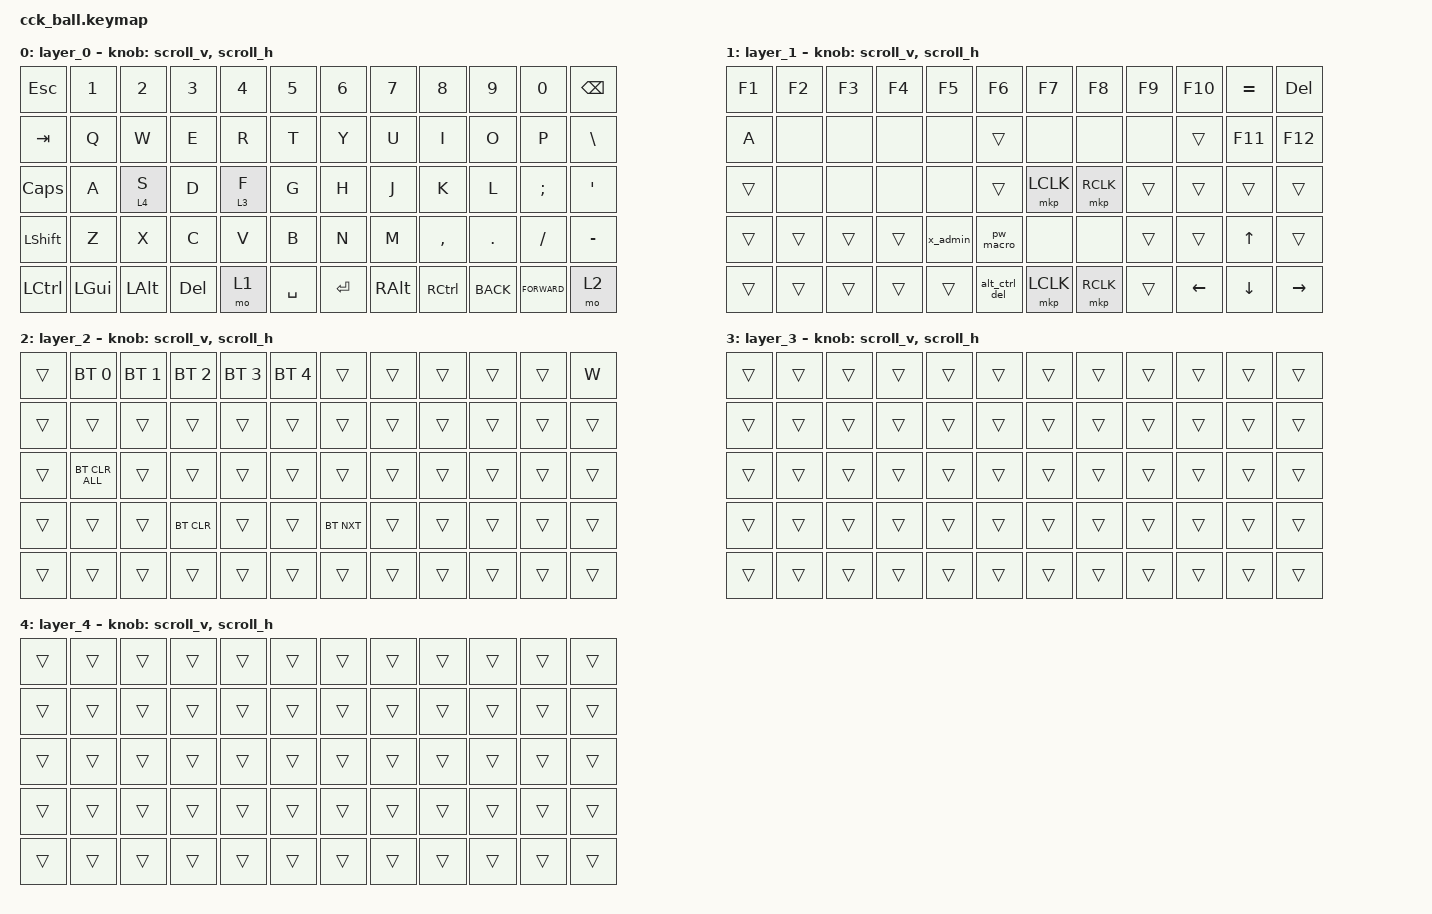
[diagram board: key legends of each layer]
#include <behaviors.dtsi>
#include <dt-bindings/zmk/bt.h>
#include <dt-bindings/zmk/keys.h>
#include <dt-bindings/zmk/pointing.h>

/* 엔코더 하드웨어 노드 활성화 (반드시 필요) */
&left_encoder { status = "okay"; };
&right_encoder { status = "okay"; };

/* 중복 정의 방지 처리 */
#ifndef ZMK_POINTING_DEFAULT_MOVE_VAL
#define ZMK_POINTING_DEFAULT_MOVE_VAL 1000
#endif
#ifndef ZMK_POINTING_DEFAULT_SCRL_VAL
#define ZMK_POINTING_DEFAULT_SCRL_VAL 12
#endif

&msc {
    acceleration-exponent = <0>;
    time-to-max-speed-ms = <300>;
    delay-ms = <0>;
};

&mmv {
    time-to-max-speed-ms = <500>;
    acceleration-exponent = <1>;
    trigger-period-ms = <16>;
};

&soft_off { hold-time-ms = <2000>; };

/ {
    behaviors {
        /* 왼쪽 엔코더 전용: 상하 스크롤 */
        scroll_v: scroll_v {
            compatible = "zmk,behavior-sensor-rotate";
            #sensor-binding-cells = <0>;
            bindings = <&msc SCRL_UP>, <&msc SCRL_DOWN>;
            tap-ms = <30>;
        };
        /* 오른쪽 엔코더 전용: 좌우 스크롤 */
        scroll_h: scroll_h {
            compatible = "zmk,behavior-sensor-rotate";
            #sensor-binding-cells = <0>;
            bindings = <&msc SCRL_RIGHT>, <&msc SCRL_LEFT>;
            tap-ms = <30>;
        };
    };

    macros {
        alt_ctrl_del: alt_ctrl_del {
            compatible = "zmk,behavior-macro";
            #binding-cells = <0>;
            wait-ms = <0>;
            tap-ms = <0>;
            bindings = <&macro_press &kp LALT &kp LCTRL &kp DEL>, <&macro_release &kp LALT &kp LCTRL &kp DEL>;
        };

        pw_macro: pw_macro {
            compatible = "zmk,behavior-macro";
            #binding-cells = <0>;
            wait-ms = <10>;
            tap-ms = <10>;
            bindings = <&kp G &kp G &kp N2 &kp N3 &kp N6 &kp N4 &kp Z &kp R &kp N3 &kp POUND>;
        };

        x_admin: x_admin {
            compatible = "zmk,behavior-macro";
            #binding-cells = <0>;
            wait-ms = <10>;
            tap-ms = <10>;
            bindings = <&kp X &kp MINUS &kp A &kp D &kp M &kp I &kp N>;
        };
    };

    keymap {
        compatible = "zmk,keymap";

        layer_0 {
            bindings = <
&kp ESC           &kp N1        &kp N2        &kp N3      &kp N4     &kp N5     &kp N6     &kp N7     &kp N8     &kp N9     &kp N0     &kp BSPC
&kp TAB           &kp Q         &kp W         &kp E       &kp R      &kp T      &kp Y      &kp U      &kp I      &kp O      &kp P      &kp BSLH
&kp CAPSLOCK      &kp A         &lt 4 S       &kp D       &lt 3 F    &kp G      &kp H      &kp J      &kp K      &kp L      &kp SEMI   &kp SQT
&kp LSHFT         &kp Z         &kp X         &kp C       &kp V      &kp B      &kp N      &kp M      &kp COMMA  &kp DOT    &kp FSLH   &kp MINUS
&kp LCTRL         &kp LGUI      &kp LALT      &kp DEL     &mo 1      &kp SPACE  &kp ENTER  &kp RALT   &kp RCTRL  &kp K_BACK &kp K_FORWARD &mo 2
            >;
            /* 순서대로 왼쪽 엔코더(&scroll_v), 오른쪽 엔코더(&scroll_h) 할당 */
            sensor-bindings = <&scroll_v>, <&scroll_h>;
        };

        layer_1 {
            bindings = <
&kp F1            &kp F2        &kp F3        &kp F4      &kp F5     &kp F6     &kp F7     &kp F8     &kp F9     &kp F10    &kp EQUAL  &kp DEL
&kp A             &none         &none         &none       &none      &trans     &none      &none      &none      &trans     &kp F11    &kp F12
&trans            &none         &none         &none       &none      &trans     &mkp LCLK  &mkp RCLK  &trans     &trans     &trans     &trans
&trans            &trans        &trans        &trans      &x_admin   &pw_macro  &none      &none      &trans     &trans     &kp UP     &trans
&trans            &trans        &trans        &trans      &trans     &alt_ctrl_del &mkp LCLK &mkp RCLK &trans    &kp LEFT   &kp DOWN   &kp RIGHT
            >;
            sensor-bindings = <&scroll_v>, <&scroll_h>;
        };

        layer_2 {
            bindings = <
&trans            &bt BT_SEL 0  &bt BT_SEL 1  &bt BT_SEL 2 &bt BT_SEL 3 &bt BT_SEL 4 &trans    &trans     &trans     &trans     &trans     &kp W
&trans            &trans        &trans        &trans       &trans       &trans       &trans    &trans     &trans     &trans     &trans     &trans
&trans            &bt BT_CLR_ALL &trans       &trans       &trans       &trans       &trans    &trans     &trans     &trans     &trans     &trans
&trans            &trans        &trans        &bt BT_CLR   &trans       &trans       &bt BT_NXT &trans    &trans     &trans     &trans     &trans
&trans            &trans        &trans        &trans       &trans       &trans       &trans    &trans     &trans     &trans     &trans     &trans
            >;
            sensor-bindings = <&scroll_v>, <&scroll_h>;
        };

        layer_3 {
            bindings = <
&trans &trans &trans &trans &trans &trans &trans &trans &trans &trans &trans &trans
&trans &trans &trans &trans &trans &trans &trans &trans &trans &trans &trans &trans
&trans &trans &trans &trans &trans &trans &trans &trans &trans &trans &trans &trans
&trans &trans &trans &trans &trans &trans &trans &trans &trans &trans &trans &trans
&trans &trans &trans &trans &trans &trans &trans &trans &trans &trans &trans &trans
            >;
            sensor-bindings = <&scroll_v>, <&scroll_h>;
        };

        layer_4 {
            bindings = <
&trans &trans &trans &trans &trans &trans &trans &trans &trans &trans &trans &trans
&trans &trans &trans &trans &trans &trans &trans &trans &trans &trans &trans &trans
&trans &trans &trans &trans &trans &trans &trans &trans &trans &trans &trans &trans
&trans &trans &trans &trans &trans &trans &trans &trans &trans &trans &trans &trans
&trans &trans &trans &trans &trans &trans &trans &trans &trans &trans &trans &trans
            >;
            sensor-bindings = <&scroll_v>, <&scroll_h>;
        };
    };
};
